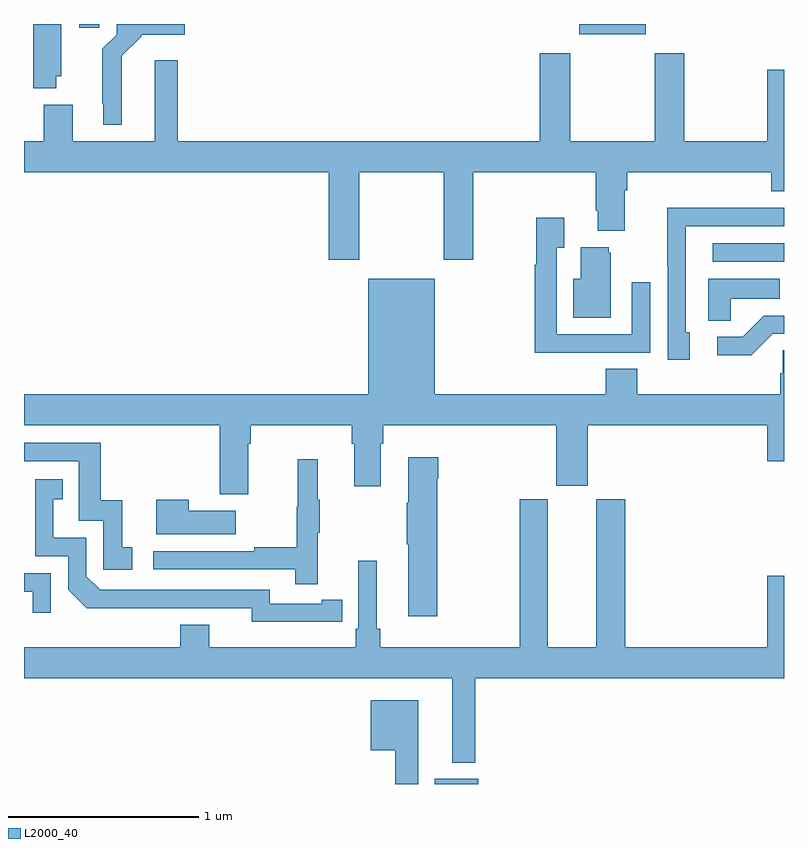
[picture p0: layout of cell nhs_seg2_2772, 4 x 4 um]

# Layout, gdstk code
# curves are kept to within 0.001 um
import gdstk
lib = gdstk.Library(unit=1e-6, precision=1e-09)
def R(c, l, rs):  # rectangles x0, y0, x1, y1
    for r in rs: c.add(gdstk.rectangle(r[:2], r[2:], *l))
def P(c, l, *ps):  # polygons
    for p in ps: c.add(gdstk.Polygon(p, *l))
L2000_40 = (2000, 40)

nhs_seg2_2772 = lib.new_cell('nhs_seg2_2772')
R(nhs_seg2_2772, L2000_40, [(259.163,593.8,259.39,593.827), (260.625,596.55,261,596.646), (259.922,597.746,260.272,597.8), (257.291,597.78,257.395,597.8)])
P(nhs_seg2_2772, L2000_40, [(257.515,597.632),(257.616,597.734),(257.616,597.743),(257.845,597.743),(257.845,597.8),(257.487,597.8),(257.487,597.744),(257.413,597.67),(257.413,597.379),(257.417,597.379),(257.417,597.269),(257.515,597.269)],
  [(257.17,597.525),(257.197,597.525),(257.197,597.8),(257.048,597.8),(257.048,597.461),(257.17,597.461)],
  [(258.765,597.02),(259.21,597.02),(259.21,596.559),(259.365,596.559),(259.365,597.02),(260.009,597.02),(260.009,596.818),(260.021,596.818),(260.021,596.711),(260.161,596.711),(260.161,596.924),(260.174,596.924),(260.174,597.02),(260.933,597.02),(260.933,596.921),(261,596.921),(261,597.559),(260.912,597.559),(260.912,597.184),(260.475,597.184),(260.475,597.646),(260.32,597.646),(260.32,597.184),(259.875,597.184),(259.875,597.646),(259.715,597.646),(259.715,597.184),(257.81,597.184),(257.81,597.61),(257.687,597.61),(257.687,597.184),(257.257,597.184),(257.257,597.376),(257.105,597.376),(257.105,597.184),(257,597.184),(257,597.02),(258.605,597.02),(258.605,596.559),(258.765,596.559)],
  [(260.503,596.178),(260.484,596.178),(260.484,596.736),(261,596.736),(261,596.832),(260.849,596.832),(260.849,596.834),(260.386,596.834),(260.386,596.527),(260.388,596.527),(260.388,596.034),(260.503,596.034)],
  [(259.979,596.07),(260.295,596.07),(260.295,596.44),(260.199,596.44),(260.199,596.166),(259.803,596.166),(259.803,596.623),(259.843,596.623),(259.843,596.779),(259.695,596.779),(259.695,596.534),(259.687,596.534),(259.687,596.069),(259.979,596.069)],
  [(260.089,596.595),(260.078,596.595),(260.078,596.626),(259.931,596.626),(259.931,596.458),(259.892,596.458),(259.892,596.255),(260.089,596.255)],
  [(260.721,596.354),(260.978,596.354),(260.978,596.458),(260.6,596.458),(260.6,596.239),(260.721,596.239)],
  [(258.181,595.592),(258.194,595.592),(258.194,595.688),(258.725,595.688),(258.725,595.592),(258.737,595.592),(258.737,595.368),(258.877,595.368),(258.877,595.592),(258.89,595.592),(258.89,595.688),(259.802,595.688),(259.802,595.371),(259.966,595.371),(259.966,595.688),(260.912,595.688),(260.912,595.5),(261,595.5),(261,596.084),(260.994,596.084),(260.994,595.961),(260.981,595.961),(260.981,595.852),(260.228,595.852),(260.228,595.985),(260.063,595.985),(260.063,595.852),(259.162,595.852),(259.162,596.458),(258.812,596.458),(258.812,595.852),(257,595.852),(257,595.688),(258.029,595.688),(258.029,595.326),(258.181,595.326)],
  [(260.94,596.169),(261,596.169),(261,596.265),(260.894,596.265),(260.783,596.154),(260.649,596.154),(260.649,596.057),(260.827,596.057)],
  [(257.569,595.047),(257.516,595.047),(257.516,595.294),(257.405,595.294),(257.405,595.596),(257,595.596),(257,595.5),(257.289,595.5),(257.289,595.185),(257.418,595.185),(257.418,594.927),(257.569,594.927)],
  [(259.176,595.406),(259.181,595.406),(259.181,595.519),(259.022,595.519),(259.022,595.28),(259.015,595.28),(259.015,595.063),(259.022,595.063),(259.022,594.684),(259.176,594.684)],
  [(258.545,595.123),(258.556,595.123),(258.556,595.297),(258.545,595.297),(258.545,595.51),(258.442,595.51),(258.442,595.26),(258.435,595.26),(258.435,595.046),(258.211,595.046),(258.211,595.026),(257.679,595.026),(257.679,594.93),(258.427,594.93),(258.427,594.852),(258.545,594.852)],
  [(258.566,594.654),(258.674,594.654),(258.674,594.77),(258.566,594.77),(258.566,594.75),(258.294,594.75),(258.294,594.822),(257.4,594.822),(257.328,594.894),(257.328,595.095),(257.155,595.095),(257.155,595.299),(257.204,595.299),(257.204,595.405),(257.058,595.405),(257.058,594.999),(257.232,594.999),(257.232,594.822),(257.33,594.725),(258.198,594.726),(258.198,594.653)],
  [(259.375,594.356),(261,594.356),(261,594.895),(260.912,594.895),(260.912,594.52),(260.165,594.52),(260.165,595.299),(260.012,595.299),(260.012,594.52),(259.756,594.52),(259.756,595.299),(259.609,595.299),(259.609,594.52),(258.875,594.52),(258.875,594.616),(258.856,594.616),(258.856,594.976),(258.759,594.976),(258.759,594.616),(258.746,594.616),(258.746,594.52),(257.974,594.52),(257.974,594.637),(257.822,594.637),(257.822,594.52),(257,594.52),(257,594.356),(259.253,594.356),(259.253,593.912),(259.375,593.912)],
  [(258.115,595.237),(257.867,595.237),(257.867,595.297),(257.696,595.297),(257.696,595.115),(258.115,595.115)],
  [(257.142,594.909),(257,594.909),(257,594.813),(257.045,594.813),(257.045,594.702),(257.142,594.702)],
  [(259.075,594.241),(258.824,594.241),(258.824,593.978),(258.954,593.978),(258.954,593.8),(259.075,593.8)])

lib.write_gds('nhs_seg2_2772.gds')
